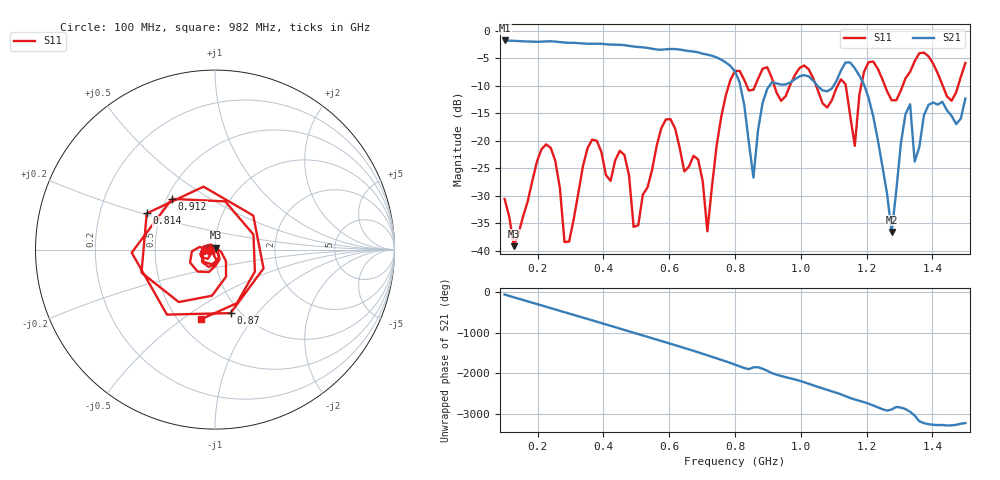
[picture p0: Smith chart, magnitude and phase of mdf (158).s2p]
! NanoVNA-App
! Date: 2025-09-26 09:40:58
! Start: 100MHz Stop: 1,5GHz Points: 101
! S-Parameter data: F S11 S21 S12 S22
# Hz S RI R 50
!  Frequency  S11_Real  S11_Imag  S21_Real  S21_Imag  S12_Real  S12_Imag  S22_Real  S22_Imag
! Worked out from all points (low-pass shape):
!   101 points, 100 MHz to 1.5 GHz, reference 50 ohm
!   highest |S21| = -1.79 dB at 100 MHz (marker M1); lowest = -36.6 dB at 1.276 GHz (marker M2)
!   |S21| within 3 dB of the highest: start of sweep to 740.6 MHz
!   lowest |S11| = -39.2 dB at 128 MHz (marker M3), VSWR 1.02, Z = 50.3 + j1.07 ohm
!   |S11| at or under -10 dB: start of sweep to 780.9 MHz; 1.046 GHz to 1.112 GHz (65.85 MHz wide, 6.1 % of centre); 1.255 GHz to 1.31 GHz (54.31 MHz wide, 4.23 % of centre) (the widest 3 of 7)
!   S12 and S22 are empty: the file has one direction only
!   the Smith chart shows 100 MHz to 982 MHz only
!   S11 on the Smith chart (normalised r, x): 100 MHz: 0.94, -0.01; 814 MHz: 0.42, +0.21; 870 MHz: 0.90, -0.74; 912 MHz: 0.53, +0.35; 982 MHz: 0.65, -0.59
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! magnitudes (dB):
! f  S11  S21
! 100 MHz  -30.6  -1.8
! 128 MHz  -39.2  -1.9
! 212 MHz  -21.6  -2.0
! 282 MHz  -38.5  -2.2
! 338 MHz  -24.6  -2.3
! 464 MHz  -22.6  -2.6
! 506 MHz  -35.4  -3.0
! 576 MHz  -17.8  -3.5
! 716 MHz  -36.5  -4.4
! 800 MHz  -7.4  -7.4
! 814 MHz  -7.3  -9.4
! 856 MHz  -10.8  -26.7
! 870 MHz  -8.8  -18.1
! 912 MHz  -8.6  -9.4
! 982 MHz  -8.1  -8.8
! 1.038 GHz  -8.7  -9.1
! 1.164 GHz  -21.0  -6.9
! 1.178 GHz  -11.6  -8.2
! 1.276 GHz  -12.7  -36.6
! 1.332 GHz  -7.5  -13.4
! 1.346 GHz  -5.5  -23.8
! 1.5 GHz  -5.9  -12.4
